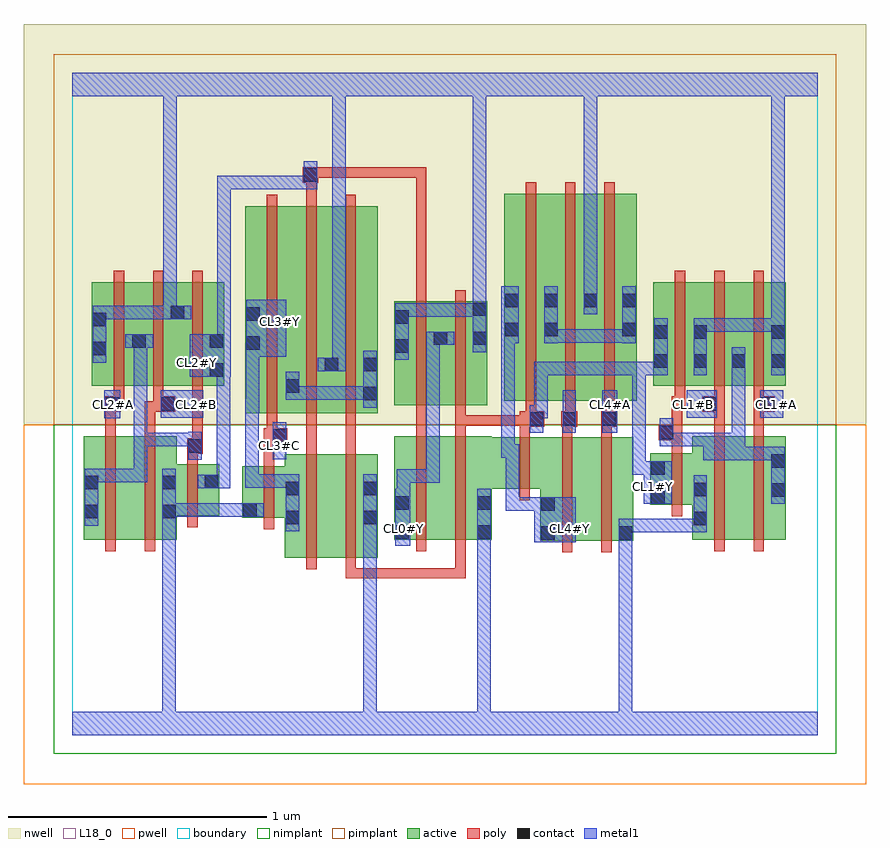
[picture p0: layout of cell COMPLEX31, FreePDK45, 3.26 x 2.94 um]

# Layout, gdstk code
import gdstk
lib = gdstk.Library(unit=1e-6, precision=1e-09)
def R(c, l, rs):  # rectangles x0, y0, x1, y1
    for r in rs: c.add(gdstk.rectangle(r[:2], r[2:], *l))
def A(c, l, x, y, w, h, nx, ny, dx, dy):  # array of equal rectangles
    R(c, l, [(x+i*dx, y+j*dy, x+i*dx+w, y+j*dy+h) for i in range(nx) for j in range(ny)])
active = (1, 0)
pwell = (2, 0)
nwell = (3, 0)
nimplant = (4, 0)
pimplant = (5, 0)
poly = (9, 0)
contact = (10, 0)
metal1 = (11, 0)
L18_0 = (18, 0)
boundary = (235, 0)

complex31 = lib.new_cell('COMPLEX31')
A(complex31, active, 0.668, 1.244, 0.06, 0.8, 3, 1, 0.152, 0)
R(complex31, active, [(0.82,0.686,1,1.086), (0.82,0.686,0.88,0.984), (1,0.686,1.18,1.086), (1.12,0.686,1.18,1.086), (1.808,0.752,1.868,1.152), (1.808,0.752,1.988,1.152), (1.988,0.752,2.168,1.152), (2.108,0.752,2.168,1.152), (0.044,0.756,0.104,1.156), (0.044,0.756,0.224,1.156), (0.224,0.756,0.404,1.156), (1.244,0.756,1.304,1.156), (1.244,0.756,1.424,1.156), (1.424,0.756,1.62,1.156), (1.56,0.756,1.62,1.152), (2.396,0.756,2.576,1.156), (2.576,0.756,2.756,1.156), (2.696,0.756,2.756,1.156), (2.396,0.808,2.456,1.09), (0.344,0.834,0.404,1.048), (0.656,0.84,0.88,1.04), (0.656,0.84,0.716,1.04), (0.344,0.848,0.568,1.048), (0.508,0.848,0.568,1.048), (2.232,0.89,2.456,1.09), (2.232,0.89,2.292,1.09), (1.56,0.952,1.868,1.152), (0.668,1.244,0.88,2.044), (0.82,1.244,1.032,2.044), (0.972,1.244,1.18,2.044), (1.12,1.244,1.18,2.044), (1.244,1.276,1.304,1.676), (1.244,1.276,1.452,1.676), (1.392,1.276,1.452,1.676), (1.392,1.276,1.604,1.676), (1.544,1.276,1.604,1.676), (1.668,1.292,1.728,2.044), (1.668,1.292,1.88,2.092), (1.82,1.292,1.88,2.044), (1.82,1.292,2.032,2.092), (1.972,1.292,2.18,2.092), (2.12,1.292,2.18,2.044), (0.076,1.35,0.136,1.75), (0.076,1.35,0.288,1.75), (0.228,1.35,0.436,1.75), (0.376,1.35,0.588,1.75), (0.528,1.35,0.588,1.644), (2.244,1.35,2.304,1.644), (2.244,1.35,2.456,1.75), (2.396,1.35,2.456,1.644), (2.396,1.35,2.604,1.75), (2.544,1.35,2.604,1.644), (2.544,1.35,2.756,1.75), (2.696,1.35,2.756,1.644), (0.228,1.382,0.288,1.75), (0.376,1.382,0.436,1.75), (1.972,1.524,2.032,2.092)])
R(complex31, pwell, [(-0.188,-0.188,3.068,1.2)])
R(complex31, nwell, [(-0.188,1.2,3.068,2.748)])
R(complex31, nimplant, [(-0.072,-0.072,2.952,1.2)])
R(complex31, pimplant, [(-0.072,1.2,2.952,2.632)])
A(complex31, poly, 0.752, 1.2, 0.04, 0.888, 3, 1, 0.152, 0)
A(complex31, poly, 1.752, 1.212, 0.04, 0.076, 3, 1, 0.152, 0)
A(complex31, poly, 1.752, 1.248, 0.04, 0.888, 3, 1, 0.152, 0)
A(complex31, poly, 2.328, 1.27, 0.04, 0.076, 3, 1, 0.152, 0)
A(complex31, poly, 0.16, 1.306, 0.04, 0.488, 3, 1, 0.152, 0)
A(complex31, poly, 2.328, 1.306, 0.04, 0.488, 3, 1, 0.152, 0)
R(complex31, poly, [(1.056,0.606,1.096,0.682), (1.056,0.606,1.096,0.646), (1.056,0.606,1.262,0.646), (1.222,0.606,1.262,0.646), (1.222,0.606,1.262,0.646), (1.222,0.606,1.262,0.646), (1.222,0.606,1.414,0.646), (1.374,0.606,1.414,0.646), (1.374,0.606,1.414,0.646), (1.374,0.606,1.414,0.646), (1.374,0.606,1.52,0.646), (1.48,0.606,1.52,0.646), (1.48,0.606,1.52,0.752), (0.904,0.642,0.944,1.13), (1.056,0.642,1.096,1.13), (1.892,0.708,1.932,1.196), (2.044,0.708,2.084,1.196), (0.128,0.712,0.168,1.2), (0.28,0.712,0.32,1.2), (1.328,0.712,1.368,1.2), (1.48,0.712,1.52,1.2), (2.48,0.712,2.52,1.2), (2.632,0.712,2.672,1.2), (0.74,0.796,0.78,1.084), (0.444,0.804,0.484,1.092), (2.316,0.846,2.356,1.134), (1.728,0.908,1.768,1.196), (0.74,1.044,0.78,1.166), (0.444,1.052,0.484,1.128), (0.444,1.088,0.504,1.148), (0.904,1.09,0.944,1.166), (1.056,1.09,1.096,1.204), (2.316,1.094,2.356,1.18), (0.464,1.108,0.504,1.148), (0.464,1.108,0.504,1.148), (0.464,1.108,0.504,1.346), (0.74,1.126,0.83,1.186), (0.904,1.126,0.944,1.166), (0.904,1.126,0.944,1.166), (0.904,1.126,0.944,1.166), (0.904,1.126,0.944,1.24), (2.266,1.14,2.356,1.2), (0.752,1.146,0.792,1.186), (0.752,1.146,0.792,1.186), (0.752,1.146,0.792,1.24), (1.728,1.156,1.768,1.232), (1.892,1.156,1.932,1.232), (2.044,1.156,2.084,1.232), (0.128,1.16,0.168,1.29), (0.28,1.16,0.32,1.29), (1.328,1.16,1.368,1.236), (1.48,1.16,1.52,1.236), (2.316,1.16,2.356,1.31), (2.48,1.16,2.52,1.29), (2.632,1.16,2.672,1.29), (1.056,1.164,1.096,1.24), (1.056,1.164,1.096,1.204), (1.056,1.164,1.096,1.204), (1.056,1.164,1.096,1.204), (1.728,1.192,1.768,1.232), (1.728,1.192,1.768,1.232), (1.728,1.192,1.824,1.252), (1.89,1.192,1.95,1.252), (2.044,1.192,2.104,1.252), (1.328,1.196,1.368,1.272), (1.328,1.196,1.368,1.236), (1.328,1.196,1.368,1.236), (1.328,1.196,1.368,1.236), (1.48,1.196,1.52,1.272), (1.48,1.196,1.52,1.236), (1.48,1.196,1.52,1.236), (1.48,1.196,1.52,1.236), (1.48,1.196,1.52,1.236), (1.48,1.196,1.52,1.236), (1.48,1.196,1.768,1.236), (1.728,1.196,1.768,1.236), (1.728,1.196,1.768,1.236), (1.904,1.212,1.944,1.252), (1.904,1.212,1.944,1.252), (2.056,1.212,2.096,1.252), (2.056,1.212,2.096,1.252), (1.328,1.232,1.368,1.72), (1.48,1.232,1.52,1.72), (0.128,1.25,0.188,1.31), (0.28,1.25,0.352,1.29), (0.312,1.25,0.352,1.29), (0.312,1.25,0.398,1.31), (2.434,1.25,2.52,1.31), (2.48,1.25,2.52,1.29), (2.48,1.25,2.52,1.29), (2.632,1.25,2.672,1.29), (2.632,1.25,2.672,1.29), (2.632,1.25,2.714,1.31), (0.148,1.27,0.188,1.31), (0.148,1.27,0.2,1.31), (0.16,1.27,0.2,1.346), (0.312,1.27,0.352,1.346), (2.316,1.27,2.368,1.31), (1.328,1.68,1.368,2.194), (0.904,2.048,0.944,2.174), (0.89,2.134,0.95,2.194), (0.91,2.154,0.95,2.194), (0.91,2.154,0.95,2.194), (0.91,2.154,1.096,2.194), (1.056,2.154,1.096,2.194), (1.056,2.154,1.202,2.194), (1.162,2.154,1.202,2.194), (1.162,2.154,1.202,2.194), (1.162,2.154,1.202,2.194), (1.162,2.154,1.202,2.194), (1.162,2.154,1.202,2.194), (1.162,2.154,1.202,2.194), (1.162,2.154,1.202,2.194), (1.162,2.154,1.202,2.194), (1.162,2.154,1.202,2.194), (1.162,2.154,1.202,2.194), (1.162,2.154,1.202,2.194), (1.162,2.154,1.368,2.194), (1.328,2.154,1.368,2.194)])
A(complex31, contact, 1.672, 1.654, 0.052, 0.052, 3, 1, 0.152, 0)
R(complex31, contact, [(1.812,0.756,1.864,0.808), (2.112,0.756,2.164,0.808), (1.248,0.76,1.3,0.812), (1.564,0.76,1.616,0.812), (2.4,0.812,2.452,0.864), (0.824,0.816,0.876,0.868), (1.124,0.816,1.176,0.868), (0.048,0.838,0.1,0.89), (0.348,0.838,0.4,0.89), (0.66,0.844,0.712,0.896), (1.812,0.868,1.864,0.92), (1.248,0.872,1.3,0.924), (1.564,0.872,1.616,0.924), (2.236,0.894,2.288,0.946), (2.7,0.922,2.752,0.974), (2.4,0.924,2.452,0.976), (0.824,0.928,0.876,0.98), (1.124,0.928,1.176,0.98), (0.048,0.95,0.1,1.002), (0.348,0.95,0.4,1.002), (0.512,0.954,0.564,1.006), (2.236,1.006,2.288,1.058), (2.7,1.034,2.752,1.086), (0.448,1.092,0.5,1.144), (0.774,1.13,0.826,1.182), (2.27,1.144,2.322,1.196), (1.768,1.196,1.82,1.248), (1.894,1.196,1.946,1.248), (2.048,1.196,2.1,1.248), (0.132,1.254,0.184,1.306), (0.342,1.254,0.394,1.306), (2.438,1.254,2.49,1.306), (2.658,1.254,2.71,1.306), (1.124,1.294,1.176,1.346), (0.824,1.324,0.876,1.376), (0.532,1.386,0.584,1.438), (0.976,1.406,1.028,1.458), (1.124,1.406,1.176,1.458), (2.248,1.42,2.3,1.472), (2.4,1.42,2.452,1.472), (2.548,1.42,2.6,1.472), (2.7,1.42,2.752,1.472), (0.08,1.468,0.132,1.52), (1.248,1.478,1.3,1.53), (0.672,1.49,0.724,1.542), (0.232,1.498,0.284,1.55), (0.532,1.498,0.584,1.55), (1.396,1.508,1.448,1.56), (1.548,1.508,1.6,1.56), (2.248,1.532,2.3,1.584), (2.4,1.532,2.452,1.584), (2.7,1.532,2.752,1.584), (1.672,1.542,1.724,1.594), (1.824,1.542,1.876,1.594), (2.124,1.542,2.176,1.594), (0.08,1.58,0.132,1.632), (1.248,1.59,1.3,1.642), (0.672,1.602,0.724,1.654), (0.38,1.608,0.432,1.66), (1.548,1.62,1.6,1.672), (2.124,1.654,2.176,1.706), (0.894,2.138,0.946,2.19)])
R(complex31, metal1, [(0,0,2.88,0.092), (0.348,0.04,0.4,0.092), (0.348,0.04,0.4,0.092), (0.348,0.04,0.4,0.092), (0.348,0.04,0.4,0.092), (0.348,0.04,0.4,0.092), (0.348,0.04,0.4,0.092), (0.348,0.04,0.4,0.092), (0.348,0.04,0.4,0.092), (0.348,0.04,0.4,0.092), (0.348,0.04,0.4,0.092), (0.348,0.04,0.4,0.092), (0.348,0.04,0.4,0.092), (0.348,0.04,0.4,0.862), (1.124,0.04,1.176,0.092), (1.124,0.04,1.176,0.092), (1.124,0.04,1.176,0.092), (1.124,0.04,1.176,0.092), (1.124,0.04,1.176,0.092), (1.124,0.04,1.176,0.092), (1.124,0.04,1.176,0.092), (1.124,0.04,1.176,0.092), (1.124,0.04,1.176,0.092), (1.124,0.04,1.176,0.092), (1.124,0.04,1.176,0.84), (1.564,0.04,1.616,0.092), (1.564,0.04,1.616,0.092), (1.564,0.04,1.616,0.092), (1.564,0.04,1.616,0.092), (1.564,0.04,1.616,0.784), (2.112,0.04,2.164,0.092), (2.112,0.04,2.164,0.092), (2.112,0.04,2.164,0.092), (2.112,0.04,2.164,0.092), (2.112,0.04,2.164,0.092), (2.112,0.04,2.164,0.092), (2.112,0.04,2.164,0.78), (2.112,0.728,2.164,0.78), (2.112,0.728,2.164,0.78), (2.112,0.728,2.164,0.78), (2.112,0.728,2.164,0.78), (2.112,0.728,2.164,0.78), (2.112,0.728,2.164,0.78), (2.112,0.728,2.164,0.836), (1.248,0.732,1.306,0.952), (1.564,0.732,1.616,0.784), (1.564,0.732,1.616,0.784), (1.564,0.732,1.616,0.784), (1.564,0.732,1.616,0.784), (1.564,0.732,1.616,0.784), (1.564,0.732,1.616,0.784), (1.564,0.732,1.616,0.784), (1.564,0.732,1.616,0.784), (1.564,0.732,1.616,0.952), (1.784,0.746,1.946,0.92), (2.112,0.784,2.316,0.836), (2.264,0.784,2.316,0.836), (2.264,0.784,2.316,0.836), (2.264,0.784,2.316,0.836), (2.264,0.784,2.452,0.836), (2.4,0.784,2.452,1.004), (0.824,0.788,0.876,1.008), (1.124,0.788,1.176,0.84), (1.124,0.788,1.176,0.84), (1.124,0.788,1.176,1.008), (0.048,0.81,0.1,1.03), (0.348,0.81,0.4,1.03), (0.348,0.844,0.53,0.896), (0.478,0.844,0.53,0.896), (0.478,0.844,0.53,0.896), (0.478,0.844,0.53,0.896), (0.478,0.844,0.53,0.896), (0.478,0.844,0.53,0.896), (0.478,0.844,0.684,0.896), (0.632,0.844,0.684,0.896), (0.632,0.844,0.684,0.896), (0.632,0.844,0.74,0.896), (1.674,0.868,1.726,0.92), (1.674,0.868,1.726,0.92), (1.674,0.868,1.726,0.92), (1.674,0.868,1.836,0.92), (1.674,0.868,1.726,1.124), (2.208,0.894,2.316,1.058), (2.7,0.894,2.752,1.114), (1.254,0.9,1.306,1.028), (0.484,0.954,0.61,1.006), (0.558,0.954,0.61,1.006), (0.558,0.954,0.61,1.006), (0.558,0.954,0.61,1.006), (0.558,0.954,0.61,1.006), (0.558,0.954,0.61,1.438), (0.668,0.956,0.722,1.008), (0.668,0.956,0.72,1.296), (0.67,0.956,0.722,1.008), (0.67,0.956,0.722,1.008), (0.67,0.956,0.876,1.008), (1.254,0.976,1.306,1.028), (1.254,0.976,1.306,1.028), (1.254,0.976,1.306,1.028), (1.254,0.976,1.306,1.028), (1.254,0.976,1.306,1.028), (1.254,0.976,1.42,1.028), (1.368,0.976,1.42,1.028), (1.368,0.976,1.42,1.028), (1.368,0.976,1.42,1.028), (1.368,0.976,1.42,1.028), (1.368,0.976,1.42,1.028), (1.368,0.976,1.42,1.56), (0.048,0.978,0.1,1.03), (0.048,0.978,0.1,1.03), (0.048,0.978,0.29,1.03), (0.238,0.978,0.29,1.03), (0.238,0.978,0.29,1.168), (2.164,1.006,2.216,1.058), (2.164,1.006,2.216,1.058), (2.164,1.006,2.216,1.444), (2.164,1.006,2.26,1.058), (2.208,1.006,2.26,1.058), (2.438,1.062,2.49,1.114), (2.438,1.062,2.6,1.114), (2.438,1.062,2.49,1.168), (2.548,1.062,2.6,1.114), (2.548,1.062,2.6,1.114), (2.548,1.062,2.6,1.114), (2.548,1.062,2.752,1.114), (2.7,1.062,2.752,1.114), (2.7,1.062,2.752,1.114), (0.448,1.064,0.5,1.172), (0.774,1.066,0.826,1.21), (1.658,1.072,1.726,1.124), (1.658,1.072,1.71,1.566), (1.674,1.072,1.726,1.124), (1.674,1.072,1.726,1.124), (1.674,1.072,1.726,1.124), (1.674,1.072,1.726,1.124), (1.674,1.072,1.726,1.124), (1.674,1.072,1.726,1.124), (0.238,1.116,0.29,1.168), (0.238,1.116,0.29,1.168), (0.238,1.116,0.29,1.168), (0.238,1.116,0.39,1.168), (0.238,1.116,0.29,1.55), (0.338,1.116,0.39,1.168), (0.338,1.116,0.398,1.168), (0.346,1.116,0.398,1.168), (0.346,1.116,0.5,1.168), (2.27,1.116,2.322,1.224), (2.27,1.116,2.49,1.168), (2.438,1.116,2.49,1.168), (2.438,1.116,2.6,1.168), (2.548,1.116,2.6,1.168), (2.548,1.116,2.6,1.168), (2.548,1.116,2.6,1.168), (2.548,1.116,2.6,1.168), (2.548,1.116,2.6,1.168), (2.548,1.116,2.6,1.444), (1.768,1.168,1.82,1.276), (1.894,1.168,1.946,1.334), (2.048,1.168,2.106,1.334), (0.124,1.224,0.186,1.334), (1.768,1.224,1.836,1.276), (1.784,1.224,1.836,1.444), (0.342,1.226,0.506,1.334), (2.374,1.226,2.49,1.334), (2.658,1.226,2.746,1.334), (0.668,1.244,0.72,1.296), (0.668,1.244,0.72,1.296), (0.668,1.244,0.722,1.296), (0.67,1.244,0.722,1.514), (1.124,1.266,1.176,1.486), (0.824,1.296,1.066,1.348), (0.824,1.296,0.876,1.404), (1.014,1.296,1.066,1.348), (1.014,1.296,1.066,1.348), (1.014,1.296,1.066,1.348), (1.014,1.296,1.176,1.348), (1.124,1.296,1.176,1.348), (1.124,1.296,1.176,1.348), (0.454,1.386,0.612,1.55), (0.558,1.386,0.61,1.438), (0.558,1.386,0.61,1.438), (0.558,1.386,0.61,1.438), (0.558,1.386,0.61,1.438), (1.784,1.392,1.944,1.444), (1.892,1.392,1.944,1.444), (1.892,1.392,2.054,1.444), (2.002,1.392,2.054,1.444), (2.002,1.392,2.054,1.444), (2.002,1.392,2.054,1.444), (2.002,1.392,2.164,1.444), (2.112,1.392,2.164,1.444), (2.112,1.392,2.216,1.444), (2.164,1.392,2.3,1.444), (2.248,1.392,2.3,1.444), (2.248,1.392,2.3,1.612), (2.4,1.392,2.452,1.612), (2.548,1.392,2.6,1.5), (2.7,1.392,2.752,1.612), (0.948,1.406,1.056,1.458), (1.004,1.406,1.056,2.52), (0.08,1.44,0.132,1.66), (1.248,1.45,1.3,1.67), (0.67,1.462,0.724,1.514), (0.672,1.462,0.724,1.514), (0.672,1.462,0.724,1.514), (0.672,1.462,0.724,1.514), (0.672,1.462,0.826,1.682), (1.548,1.48,1.6,1.7), (0.204,1.498,0.312,1.55), (0.56,1.498,0.612,2.162), (1.368,1.508,1.476,1.56), (1.658,1.514,1.71,1.566), (1.658,1.514,1.71,1.566), (1.658,1.514,1.724,1.734), (1.824,1.514,1.876,1.734), (2.124,1.514,2.176,1.734), (1.824,1.516,1.93,1.568), (1.878,1.516,1.93,1.568), (1.878,1.516,2.054,1.568), (2.002,1.516,2.054,1.568), (2.002,1.516,2.054,1.568), (2.002,1.516,2.054,1.568), (2.002,1.516,2.176,1.568), (2.4,1.56,2.452,1.612), (2.4,1.56,2.452,1.612), (2.4,1.56,2.642,1.612), (2.59,1.56,2.642,1.612), (2.59,1.56,2.752,1.612), (2.7,1.56,2.752,1.612), (2.7,1.56,2.752,1.612), (2.7,1.56,2.752,2.52), (0.08,1.608,0.242,1.66), (0.19,1.608,0.242,1.66), (0.19,1.608,0.242,1.66), (0.19,1.608,0.242,1.66), (0.19,1.608,0.352,1.66), (0.3,1.608,0.352,1.66), (0.3,1.608,0.404,1.66), (0.352,1.608,0.404,1.66), (0.352,1.608,0.404,1.66), (0.352,1.608,0.46,1.66), (0.352,1.608,0.404,2.52), (1.248,1.618,1.49,1.67), (1.438,1.618,1.49,1.67), (1.438,1.618,1.49,1.67), (1.438,1.618,1.49,1.67), (1.438,1.618,1.6,1.67), (1.548,1.618,1.6,1.67), (1.548,1.618,1.6,1.67), (1.976,1.626,2.028,1.734), (1.548,1.648,1.6,1.7), (1.548,1.648,1.6,1.7), (1.548,1.648,1.6,1.7), (1.548,1.648,1.6,1.7), (1.548,1.648,1.6,2.52), (1.976,1.682,2.028,1.734), (1.976,1.682,2.028,1.734), (1.976,1.682,2.028,2.52), (0.56,2.11,0.612,2.162), (0.56,2.11,0.612,2.162), (0.56,2.11,0.612,2.162), (0.56,2.11,0.612,2.162), (0.56,2.11,0.612,2.162), (0.56,2.11,0.612,2.162), (0.56,2.11,0.612,2.162), (0.56,2.11,0.612,2.162), (0.56,2.11,0.612,2.162), (0.56,2.11,0.64,2.162), (0.588,2.11,0.64,2.162), (0.588,2.11,0.64,2.162), (0.588,2.11,0.64,2.162), (0.588,2.11,0.832,2.162), (0.78,2.11,0.832,2.162), (0.78,2.11,0.832,2.162), (0.78,2.11,0.832,2.162), (0.78,2.11,0.946,2.162), (0.894,2.11,0.946,2.218), (0,2.468,2.88,2.56), (0.352,2.468,0.404,2.52), (0.352,2.468,0.404,2.52), (0.352,2.468,0.404,2.52), (0.352,2.468,0.404,2.52), (0.352,2.468,0.404,2.52), (0.352,2.468,0.404,2.52), (0.352,2.468,0.404,2.52), (0.352,2.468,0.404,2.52), (0.352,2.468,0.404,2.52), (0.352,2.468,0.404,2.52), (0.352,2.468,0.404,2.52), (0.352,2.468,0.404,2.52), (0.352,2.468,0.404,2.52), (0.352,2.468,0.404,2.52), (1.004,2.468,1.056,2.52), (1.004,2.468,1.056,2.52), (1.004,2.468,1.056,2.52), (1.004,2.468,1.056,2.52), (1.004,2.468,1.056,2.52), (1.004,2.468,1.056,2.52), (1.004,2.468,1.056,2.52), (1.004,2.468,1.056,2.52), (1.548,2.468,1.6,2.52), (1.548,2.468,1.6,2.52), (1.548,2.468,1.6,2.52), (1.548,2.468,1.6,2.52), (1.548,2.468,1.6,2.52), (1.548,2.468,1.6,2.52), (1.548,2.468,1.6,2.52), (1.548,2.468,1.6,2.52), (1.548,2.468,1.6,2.52), (1.548,2.468,1.6,2.52), (1.548,2.468,1.6,2.52), (1.548,2.468,1.6,2.52), (1.976,2.468,2.028,2.52), (1.976,2.468,2.028,2.52), (1.976,2.468,2.028,2.52), (1.976,2.468,2.028,2.52), (1.976,2.468,2.028,2.52), (1.976,2.468,2.028,2.52), (2.7,2.468,2.752,2.52), (2.7,2.468,2.752,2.52), (2.7,2.468,2.752,2.52), (2.7,2.468,2.752,2.52), (2.7,2.468,2.752,2.52), (2.7,2.468,2.752,2.52), (2.7,2.468,2.752,2.52), (2.7,2.468,2.752,2.52), (2.7,2.468,2.752,2.52), (2.7,2.468,2.752,2.52), (2.7,2.468,2.752,2.52), (2.7,2.468,2.752,2.52), (2.7,2.468,2.752,2.52), (2.7,2.468,2.752,2.52), (2.7,2.468,2.752,2.52), (2.7,2.468,2.752,2.52)])
A(complex31, L18_0, 2.054, 1.254, 0.052, 0.052, 3, 1, 0.32, 0)
R(complex31, L18_0, [(0,0,2.88,0.092), (0.348,0.04,0.4,0.092), (0.348,0.04,0.4,0.092), (0.348,0.04,0.4,0.092), (0.348,0.04,0.4,0.092), (0.348,0.04,0.4,0.092), (0.348,0.04,0.4,0.092), (0.348,0.04,0.4,0.092), (0.348,0.04,0.4,0.092), (0.348,0.04,0.4,0.092), (0.348,0.04,0.4,0.092), (0.348,0.04,0.4,0.092), (0.348,0.04,0.4,0.092), (0.348,0.04,0.4,0.862), (1.124,0.04,1.176,0.092), (1.124,0.04,1.176,0.092), (1.124,0.04,1.176,0.092), (1.124,0.04,1.176,0.092), (1.124,0.04,1.176,0.092), (1.124,0.04,1.176,0.092), (1.124,0.04,1.176,0.092), (1.124,0.04,1.176,0.092), (1.124,0.04,1.176,0.092), (1.124,0.04,1.176,0.092), (1.124,0.04,1.176,0.84), (1.564,0.04,1.616,0.092), (1.564,0.04,1.616,0.092), (1.564,0.04,1.616,0.092), (1.564,0.04,1.616,0.092), (1.564,0.04,1.616,0.784), (2.112,0.04,2.164,0.092), (2.112,0.04,2.164,0.092), (2.112,0.04,2.164,0.092), (2.112,0.04,2.164,0.092), (2.112,0.04,2.164,0.092), (2.112,0.04,2.164,0.092), (2.112,0.04,2.164,0.78), (2.112,0.728,2.164,0.78), (2.112,0.728,2.164,0.78), (2.112,0.728,2.164,0.78), (2.112,0.728,2.164,0.78), (2.112,0.728,2.164,0.78), (2.112,0.728,2.164,0.78), (2.112,0.728,2.164,0.836), (1.248,0.732,1.306,0.952), (1.564,0.732,1.616,0.952), (1.564,0.732,1.616,0.784), (1.564,0.732,1.616,0.784), (1.564,0.732,1.616,0.784), (1.564,0.732,1.616,0.784), (1.564,0.732,1.616,0.784), (1.564,0.732,1.616,0.784), (1.564,0.732,1.616,0.784), (1.564,0.732,1.616,0.784), (1.784,0.746,1.946,0.92), (1.254,0.774,1.306,0.826), (1.894,0.774,1.946,0.826), (2.112,0.784,2.316,0.836), (2.264,0.784,2.316,0.836), (2.264,0.784,2.316,0.836), (2.264,0.784,2.316,0.836), (2.264,0.784,2.452,0.836), (2.4,0.784,2.452,1.004), (0.824,0.788,0.876,1.008), (1.124,0.788,1.176,1.008), (1.124,0.788,1.176,0.84), (1.124,0.788,1.176,0.84), (0.348,0.81,0.4,1.03), (0.348,0.844,0.53,0.896), (0.478,0.844,0.53,0.896), (0.478,0.844,0.53,0.896), (0.478,0.844,0.53,0.896), (0.478,0.844,0.53,0.896), (0.478,0.844,0.53,0.896), (0.478,0.844,0.684,0.896), (0.632,0.844,0.684,0.896), (0.632,0.844,0.684,0.896), (0.632,0.844,0.74,0.896), (1.674,0.868,1.726,0.92), (1.674,0.868,1.726,0.92), (1.674,0.868,1.726,0.92), (1.674,0.868,1.836,0.92), (1.674,0.868,1.726,1.124), (2.208,0.894,2.316,1.058), (1.254,0.9,1.306,1.028), (2.214,0.934,2.266,0.986), (0.484,0.954,0.61,1.006), (0.558,0.954,0.61,1.006), (0.558,0.954,0.61,1.006), (0.558,0.954,0.61,1.006), (0.558,0.954,0.61,1.006), (0.558,0.954,0.61,1.438), (0.668,0.956,0.722,1.008), (0.668,0.956,0.72,1.296), (0.67,0.956,0.722,1.008), (0.67,0.956,0.722,1.008), (0.67,0.956,0.876,1.008), (1.254,0.976,1.306,1.028), (1.254,0.976,1.306,1.028), (1.254,0.976,1.306,1.028), (1.254,0.976,1.306,1.028), (1.254,0.976,1.306,1.028), (1.254,0.976,1.42,1.028), (1.368,0.976,1.42,1.028), (1.368,0.976,1.42,1.028), (1.368,0.976,1.42,1.028), (1.368,0.976,1.42,1.028), (1.368,0.976,1.42,1.028), (1.368,0.976,1.42,1.56), (2.164,1.006,2.216,1.058), (2.164,1.006,2.216,1.058), (2.164,1.006,2.26,1.058), (2.164,1.006,2.216,1.444), (2.208,1.006,2.26,1.058), (0.774,1.066,0.826,1.21), (1.658,1.072,1.726,1.124), (1.658,1.072,1.71,1.566), (1.674,1.072,1.726,1.124), (1.674,1.072,1.726,1.124), (1.674,1.072,1.726,1.124), (1.674,1.072,1.726,1.124), (1.674,1.072,1.726,1.124), (1.674,1.072,1.726,1.124), (0.774,1.094,0.826,1.146), (1.768,1.168,1.82,1.276), (1.894,1.168,1.946,1.334), (2.048,1.168,2.106,1.334), (0.124,1.224,0.186,1.334), (1.768,1.224,1.836,1.276), (1.784,1.224,1.836,1.444), (0.342,1.226,0.506,1.334), (2.374,1.226,2.49,1.334), (2.658,1.226,2.746,1.334), (0.668,1.244,0.72,1.296), (0.668,1.244,0.72,1.296), (0.668,1.244,0.722,1.296), (0.67,1.244,0.722,1.514), (0.134,1.254,0.186,1.306), (0.454,1.254,0.506,1.306), (1.894,1.254,1.946,1.306), (0.454,1.386,0.612,1.55), (0.558,1.386,0.61,1.438), (0.558,1.386,0.61,1.438), (0.558,1.386,0.61,1.438), (0.558,1.386,0.61,1.438), (1.784,1.392,1.944,1.444), (1.892,1.392,1.944,1.444), (1.892,1.392,2.054,1.444), (2.002,1.392,2.054,1.444), (2.002,1.392,2.054,1.444), (2.002,1.392,2.054,1.444), (2.002,1.392,2.164,1.444), (2.112,1.392,2.164,1.444), (2.112,1.392,2.216,1.444), (2.164,1.392,2.3,1.444), (2.248,1.392,2.3,1.612), (2.248,1.392,2.3,1.444), (2.4,1.392,2.452,1.612), (2.7,1.392,2.752,1.612), (0.948,1.406,1.056,1.458), (1.004,1.406,1.056,2.52), (0.454,1.414,0.506,1.466), (0.08,1.44,0.132,1.66), (1.248,1.45,1.3,1.67), (0.67,1.462,0.724,1.514), (0.672,1.462,0.724,1.514), (0.672,1.462,0.724,1.514), (0.672,1.462,0.724,1.514), (0.672,1.462,0.826,1.682), (1.548,1.48,1.6,1.7), (0.56,1.498,0.612,2.162), (1.368,1.508,1.476,1.56), (1.658,1.514,1.71,1.566), (1.658,1.514,1.71,1.566), (1.658,1.514,1.724,1.734), (2.4,1.56,2.452,1.612), (2.4,1.56,2.452,1.612), (2.4,1.56,2.642,1.612), (2.59,1.56,2.642,1.612), (2.59,1.56,2.752,1.612), (2.7,1.56,2.752,1.612), (2.7,1.56,2.752,1.612), (2.7,1.56,2.752,2.52), (0.774,1.574,0.826,1.626), (0.08,1.608,0.242,1.66), (0.19,1.608,0.242,1.66), (0.19,1.608,0.242,1.66), (0.19,1.608,0.242,1.66), (0.19,1.608,0.352,1.66), (0.3,1.608,0.352,1.66), (0.3,1.608,0.404,1.66), (0.352,1.608,0.404,1.66), (0.352,1.608,0.404,1.66), (0.352,1.608,0.46,1.66), (0.352,1.608,0.404,2.52), (1.248,1.618,1.49,1.67), (1.438,1.618,1.49,1.67), (1.438,1.618,1.49,1.67), (1.438,1.618,1.49,1.67), (1.438,1.618,1.6,1.67), (1.548,1.618,1.6,1.67), (1.548,1.618,1.6,1.67), (1.976,1.626,2.028,1.734), (1.548,1.648,1.6,1.7), (1.548,1.648,1.6,1.7), (1.548,1.648,1.6,1.7), (1.548,1.648,1.6,1.7), (1.548,1.648,1.6,2.52), (1.976,1.682,2.028,1.734), (1.976,1.682,2.028,1.734), (1.976,1.682,2.028,2.52), (0.56,2.11,0.612,2.162), (0.56,2.11,0.612,2.162), (0.56,2.11,0.612,2.162), (0.56,2.11,0.612,2.162), (0.56,2.11,0.612,2.162), (0.56,2.11,0.612,2.162), (0.56,2.11,0.612,2.162), (0.56,2.11,0.612,2.162), (0.56,2.11,0.612,2.162), (0.56,2.11,0.64,2.162), (0.588,2.11,0.64,2.162), (0.588,2.11,0.64,2.162), (0.588,2.11,0.64,2.162), (0.588,2.11,0.832,2.162), (0.78,2.11,0.832,2.162), (0.78,2.11,0.832,2.162), (0.78,2.11,0.832,2.162), (0.78,2.11,0.946,2.162), (0.894,2.11,0.946,2.218), (0,2.468,2.88,2.56), (0.352,2.468,0.404,2.52), (0.352,2.468,0.404,2.52), (0.352,2.468,0.404,2.52), (0.352,2.468,0.404,2.52), (0.352,2.468,0.404,2.52), (0.352,2.468,0.404,2.52), (0.352,2.468,0.404,2.52), (0.352,2.468,0.404,2.52), (0.352,2.468,0.404,2.52), (0.352,2.468,0.404,2.52), (0.352,2.468,0.404,2.52), (0.352,2.468,0.404,2.52), (0.352,2.468,0.404,2.52), (0.352,2.468,0.404,2.52), (1.004,2.468,1.056,2.52), (1.004,2.468,1.056,2.52), (1.004,2.468,1.056,2.52), (1.004,2.468,1.056,2.52), (1.004,2.468,1.056,2.52), (1.004,2.468,1.056,2.52), (1.004,2.468,1.056,2.52), (1.004,2.468,1.056,2.52), (1.548,2.468,1.6,2.52), (1.548,2.468,1.6,2.52), (1.548,2.468,1.6,2.52), (1.548,2.468,1.6,2.52), (1.548,2.468,1.6,2.52), (1.548,2.468,1.6,2.52), (1.548,2.468,1.6,2.52), (1.548,2.468,1.6,2.52), (1.548,2.468,1.6,2.52), (1.548,2.468,1.6,2.52), (1.548,2.468,1.6,2.52), (1.548,2.468,1.6,2.52), (1.976,2.468,2.028,2.52), (1.976,2.468,2.028,2.52), (1.976,2.468,2.028,2.52), (1.976,2.468,2.028,2.52), (1.976,2.468,2.028,2.52), (1.976,2.468,2.028,2.52), (2.7,2.468,2.752,2.52), (2.7,2.468,2.752,2.52), (2.7,2.468,2.752,2.52), (2.7,2.468,2.752,2.52), (2.7,2.468,2.752,2.52), (2.7,2.468,2.752,2.52), (2.7,2.468,2.752,2.52), (2.7,2.468,2.752,2.52), (2.7,2.468,2.752,2.52), (2.7,2.468,2.752,2.52), (2.7,2.468,2.752,2.52), (2.7,2.468,2.752,2.52), (2.7,2.468,2.752,2.52), (2.7,2.468,2.752,2.52), (2.7,2.468,2.752,2.52), (2.7,2.468,2.752,2.52)])
R(complex31, boundary, [(0,0,2.88,2.56)])
complex31.add(gdstk.Label('CL0#Y', (1.28,0.8), layer=11, texttype=0))
complex31.add(gdstk.Label('CL1#A', (2.72,1.28), layer=11, texttype=0))
complex31.add(gdstk.Label('CL1#B', (2.4,1.28), layer=11, texttype=0))
complex31.add(gdstk.Label('CL1#Y', (2.24,0.96), layer=11, texttype=0))
complex31.add(gdstk.Label('CL2#A', (0.16,1.28), layer=11, texttype=0))
complex31.add(gdstk.Label('CL2#B', (0.48,1.28), layer=11, texttype=0))
complex31.add(gdstk.Label('CL2#Y', (0.48,1.44), layer=11, texttype=0))
complex31.add(gdstk.Label('CL3#C', (0.8,1.12), layer=11, texttype=0))
complex31.add(gdstk.Label('CL3#Y', (0.8,1.6), layer=11, texttype=0))
complex31.add(gdstk.Label('CL4#A', (2.08,1.28), layer=11, texttype=0))
complex31.add(gdstk.Label('CL4#B', (1.92,1.28), layer=11, texttype=0))
complex31.add(gdstk.Label('CL4#Y', (1.92,0.8), layer=11, texttype=0))

lib.write_gds('COMPLEX31.gds')
